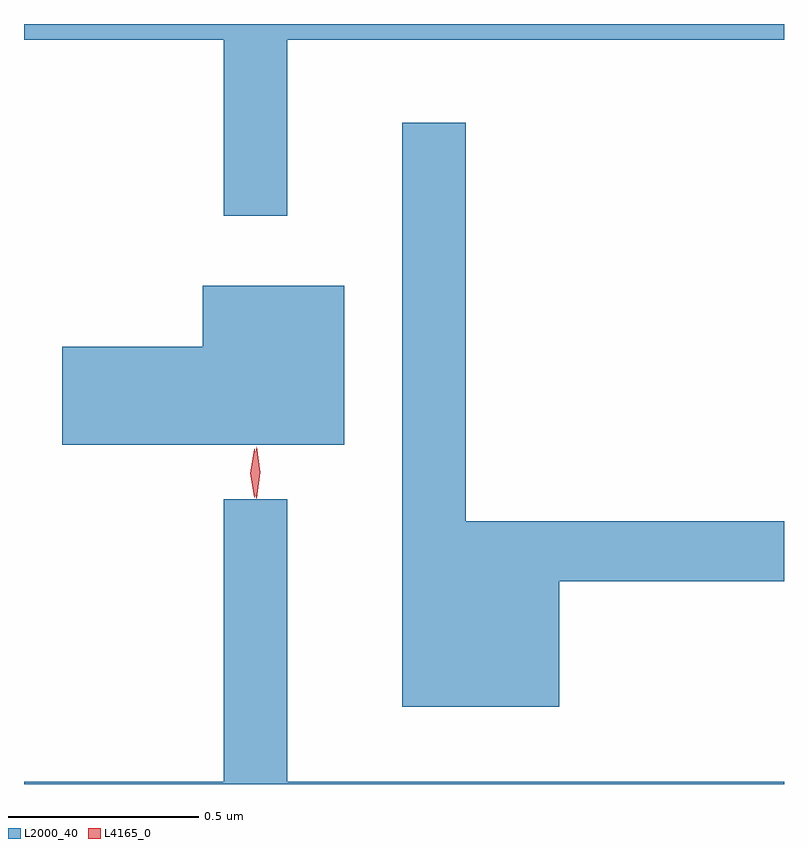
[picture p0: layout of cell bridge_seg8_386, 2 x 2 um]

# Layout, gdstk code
import gdstk
lib = gdstk.Library(unit=1e-6, precision=1e-09)
def P(c, l, *ps):  # polygons
    for p in ps: c.add(gdstk.Polygon(p, *l))
L2000_40 = (2000, 40)
L4165_0 = (4165, 0)

bridge_seg8_386 = lib.new_cell('bridge_seg8_386')
P(bridge_seg8_386, L2000_40, [(711.319,1938.536),(712.626,1938.536),(712.626,1938.578),(710.626,1938.578),(710.626,1938.536),(711.151,1938.536),(711.151,1938.073),(711.319,1938.073)],
  [(712.034,1937.111),(712.626,1937.111),(712.626,1937.269),(711.789,1937.269),(711.789,1938.318),(711.621,1938.318),(711.621,1936.781),(712.034,1936.781)],
  [(711.469,1937.889),(711.096,1937.889),(711.096,1937.729),(710.726,1937.729),(710.726,1937.471),(711.469,1937.471)],
  [(712.626,1936.584),(711.319,1936.584),(711.319,1937.328),(711.151,1937.328),(711.151,1936.584),(710.626,1936.584),(710.626,1936.578),(712.626,1936.578)])
P(bridge_seg8_386, L4165_0, [(711.232,1937.333),(711.232,1937.333),(711.222,1937.396),(711.232,1937.459),(711.232,1937.46),(711.233,1937.459),(711.242,1937.396),(711.233,1937.333)],
  [(711.237,1937.33),(711.228,1937.398),(711.238,1937.465),(711.239,1937.466),(711.239,1937.465),(711.248,1937.398),(711.238,1937.33),(711.238,1937.33)])

lib.write_gds('bridge_seg8_386.gds')
